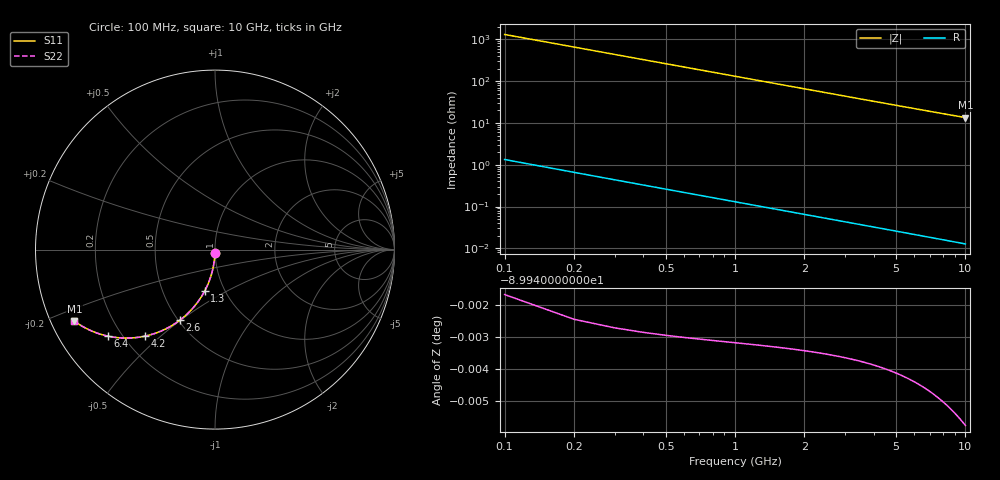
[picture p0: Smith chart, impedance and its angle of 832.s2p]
# Hz S RI R 50.00
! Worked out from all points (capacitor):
!   100 points, 100 MHz to 10 GHz, reference 50 ohm
!   read as one part in shunt: C = 1.21 pF near 100 MHz
!   lowest |Z| = 13.5 ohm at 10 GHz (marker M1)
!   S11 on the Smith chart (normalised r, x): 100 MHz: 1.00, -0.04; 1.3 GHz: 0.80, -0.39; 2.6 GHz: 0.51, -0.50; 4.2 GHz: 0.28, -0.45; 6.4 GHz: 0.15, -0.35; 10 GHz: 0.07, -0.24
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1e8  -0.00036 -0.0189  0.9996 -0.0192  0.9996 -0.0192  -0.00036 -0.0189
2e8  -0.00147 -0.0378  0.9985 -0.0383  0.9985 -0.0383  -0.00147 -0.0378
3e8  -0.00329 -0.0566  0.9967 -0.0573  0.9967 -0.0573  -0.00329 -0.0566
4e8  -0.00582 -0.0753  0.9941 -0.0762  0.9941 -0.0762  -0.00582 -0.0753
5e8  -0.00906 -0.0938  0.9909 -0.095  0.9909 -0.095  -0.00906 -0.0938
6e8  -0.013 -0.1121  0.987 -0.1135  0.987 -0.1135  -0.013 -0.1121
7e8  -0.0176 -0.1301  0.9824 -0.1318  0.9824 -0.1318  -0.0176 -0.1301
8e8  -0.0228 -0.1479  0.9771 -0.1498  0.9771 -0.1498  -0.0228 -0.1479
1e9  -0.0351 -0.1825  0.9648 -0.1849  0.9648 -0.1849  -0.0351 -0.1825
1.3e9  -0.0579 -0.2316  0.942 -0.2347  0.942 -0.2347  -0.0579 -0.2316
1.5e9  -0.0756 -0.2621  0.9244 -0.2657  0.9244 -0.2657  -0.0756 -0.2621
1.8e9  -0.1053 -0.3043  0.8947 -0.3086  0.8947 -0.3086  -0.1053 -0.3043
2.2e9  -0.1493 -0.3533  0.8506 -0.3586  0.8506 -0.3586  -0.1493 -0.3533
2.6e9  -0.1968 -0.3939  0.8032 -0.4002  0.8032 -0.4002  -0.1968 -0.3939
3.4e9  -0.2949 -0.4514  0.705 -0.4597  0.705 -0.4597  -0.2949 -0.4514
4.2e9  -0.3893 -0.4819  0.6106 -0.4923  0.6106 -0.4923  -0.3893 -0.4819
5.1e9  -0.4843 -0.493  0.5156 -0.5056  0.5156 -0.5056  -0.4843 -0.493
6.4e9  -0.5963 -0.4821  0.4035 -0.4981  0.4035 -0.4981  -0.5963 -0.4821
6.7e9  -0.6182 -0.477  0.3817 -0.4937  0.3817 -0.4937  -0.6182 -0.477
7.5e9  -0.6698 -0.4603  0.33 -0.4791  0.33 -0.4791  -0.6698 -0.4603
8.4e9  -0.7179 -0.4389  0.2818 -0.46  0.2818 -0.46  -0.7179 -0.4389
1e10  -0.7831 -0.3988  0.2166 -0.4242  0.2166 -0.4242  -0.7831 -0.3988
